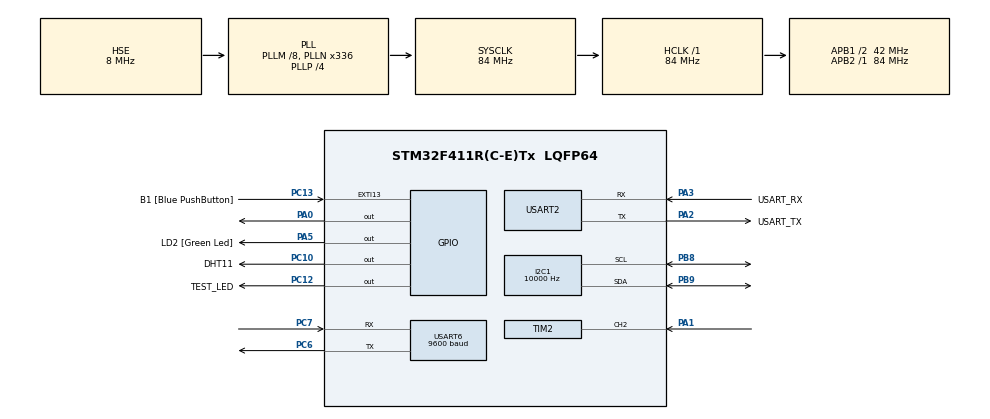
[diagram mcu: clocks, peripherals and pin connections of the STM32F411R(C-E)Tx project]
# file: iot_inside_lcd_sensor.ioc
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I2C1.ClockSpeed=10000
Mcu.Family=STM32F4
Mcu.Name=STM32F411R(C-E)Tx
Mcu.Package=LQFP64
NVIC.PriorityGroup=NVIC_PRIORITYGROUP_0
NVIC.TIM2_IRQn=true\:0\:0\:false\:false\:true\:true\:true\:true
NVIC.TIM3_IRQn=true\:0\:0\:false\:false\:true\:true\:true\:true
NVIC.USART2_IRQn=true\:0\:0\:false\:false\:true\:true\:true\:true
NVIC.USART6_IRQn=true\:0\:0\:false\:false\:true\:true\:true\:true
PA0-WKUP.Signal=GPIO_Output
PA1.Signal=S_TIM2_CH2
PA13.GPIO_Label=TMS
PA13.Mode=Serial_Wire
PA13.Signal=SYS_JTMS-SWDIO
PA14.GPIO_Label=TCK
PA14.Mode=Serial_Wire
PA14.Signal=SYS_JTCK-SWCLK
PA2.GPIO_Label=USART_TX
PA2.Mode=Asynchronous
PA2.Signal=USART2_TX
PA3.GPIO_Label=USART_RX
PA3.Mode=Asynchronous
PA3.Signal=USART2_RX
PA5.GPIO_Label=LD2 [Green Led]
PA5.Signal=GPIO_Output
PB3.GPIO_Label=SWO
PB3.Signal=SYS_JTDO-SWO
PB8.Mode=I2C
PB8.Signal=I2C1_SCL
PB9.Mode=I2C
PB9.Signal=I2C1_SDA
PC10.GPIO_Label=DHT11
PC10.Signal=GPIO_Output
PC12.GPIO_Label=TEST_LED
PC12.Signal=GPIO_Output
PC13-ANTI_TAMP.GPIO_Label=B1 [Blue PushButton]
PC13-ANTI_TAMP.GPIO_ModeDefaultEXTI=GPIO_MODE_IT_FALLING
PC13-ANTI_TAMP.Signal=GPXTI13
PC14-OSC32_IN.Signal=RCC_OSC32_IN
PC15-OSC32_OUT.Signal=RCC_OSC32_OUT
PC6.Mode=Asynchronous
PC6.Signal=USART6_TX
PC7.Mode=Asynchronous
PC7.Signal=USART6_RX
PH0\ -\ OSC_IN.Mode=HSE-External-Oscillator
PH0\ -\ OSC_IN.Signal=RCC_OSC_IN
PH1\ -\ OSC_OUT.Mode=HSE-External-Oscillator
PH1\ -\ OSC_OUT.Signal=RCC_OSC_OUT
ProjectManager.HeapSize=0x200
ProjectManager.StackSize=0x400
ProjectManager.TargetToolchain=STM32CubeIDE
RCC.48MHZClocksFreq_Value=84000000
RCC.AHBFreq_Value=84000000
RCC.APB1CLKDivider=RCC_HCLK_DIV2
RCC.APB1Freq_Value=42000000
RCC.APB1TimFreq_Value=84000000
RCC.APB2Freq_Value=84000000
RCC.APB2TimFreq_Value=84000000
RCC.CortexFreq_Value=84000000
RCC.FLatency-AdvancedSettings=FLASH_LATENCY_2
RCC.HCLKFreq_Value=84000000
RCC.HSE_VALUE=8000000
RCC.HSI_VALUE=16000000
RCC.LSE_VALUE=32768
RCC.PLLM=8
RCC.PLLN=336
RCC.PLLP=RCC_PLLP_DIV4
RCC.PLLSourceVirtual=RCC_PLLSOURCE_HSE
RCC.SYSCLKFreq_VALUE=84000000
RCC.SYSCLKSource=RCC_SYSCLKSOURCE_PLLCLK
RCC.VCOOutputFreq_Value=336000000
SH.S_TIM2_CH2.0=TIM2_CH2,Input_Capture2_from_TI2
TIM2.AutoReloadPreload=TIM_AUTORELOAD_PRELOAD_ENABLE
TIM2.Channel-Input_Capture2_from_TI2=TIM_CHANNEL_2
TIM2.Prescaler=84-1
TIM3.Period=10000-1
TIM3.Prescaler=84-1
USART2.VirtualMode=VM_ASYNC
USART6.BaudRate=9600
USART6.VirtualMode=VM_ASYNC
VP_TIM2_VS_ClockSourceINT.Mode=Internal
VP_TIM3_VS_ClockSourceINT.Mode=Internal
board=NUCLEO-F411RE

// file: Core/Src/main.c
/* USER CODE BEGIN Header */
/**
  ******************************************************************************
  * @file           : main.c
  * @brief          : Main program body
  ******************************************************************************
  */
/* USER CODE END Header */
#include "main.h"

/* USER CODE BEGIN Includes */
#include <stdio.h>
#include <string.h>
#include <stdlib.h>
#include "clcd.h"
/* USER CODE END Includes */

/* USER CODE BEGIN PD */
#ifdef __GNUC__
/* With GCC, small printf (option LD Linker->Libraries->Small printf
   set to 'Yes') calls __io_putchar() */
#define PUTCHAR_PROTOTYPE int __io_putchar(int ch)
#else
#define PUTCHAR_PROTOTYPE int fputc(int ch, FILE *f)
#endif /* __GNUC__ */
#define ARR_CNT 10
#define CMD_SIZE 50
#define RX_BUFFER_SIZE 50

#define TRIG_PORT GPIOA
#define TRIG_PIN GPIO_PIN_0
#define ECHO_PORT GPIOA
#define ECHO_PIN GPIO_PIN_1
/* USER CODE END PD */

I2C_HandleTypeDef hi2c1;

TIM_HandleTypeDef htim2;
TIM_HandleTypeDef htim3;

UART_HandleTypeDef huart2;
UART_HandleTypeDef huart6;

/* USER CODE BEGIN PV */
uint8_t rx2char;
volatile unsigned char rx2Flag = 0;
volatile char rx2Data[RX_BUFFER_SIZE];
volatile unsigned char btFlag = 0;
uint8_t btchar;
char btData[RX_BUFFER_SIZE];

typedef struct {
  uint8_t hours;
  uint8_t minutes;
  uint8_t seconds;
} TimeStruct;

volatile TimeStruct currentTime = {0, 0, 0};
volatile uint8_t timeUpdated = 0;

char temperatureStr[5] = "0";
char humidityStr[5] = "0";
char lightStr[5] = "0";
volatile uint8_t sensorDataUpdated = 0;

uint32_t IC_Val1 = 0;
uint32_t IC_Val2 = 0;
uint32_t Difference = 0;
uint8_t Is_First_Captured = 0;
uint8_t Distance = 0;

volatile uint8_t startMeasurement = 0;
volatile uint32_t lastMeasurementTime = 0;
#define MEASUREMENT_INTERVAL 50

uint8_t backlightState = 0;
uint32_t backlightStartTime = 0;
#define BACKLIGHT_TIMEOUT 10000
/* USER CODE END PV */

void SystemClock_Config(void);
static void MX_GPIO_Init(void);
static void MX_USART2_UART_Init(void);
static void MX_USART6_UART_Init(void);
static void MX_I2C1_Init(void);
static void MX_TIM3_Init(void);
static void MX_TIM2_Init(void);
/* USER CODE BEGIN PFP */
void bluetooth_Event(void);
void updateTimeFromBluetooth(const char* timeStr);
void getTimeString(char* buffer, size_t bufferSize);
/* USER CODE END PFP */

int main(void)
{

  /* MCU Configuration--------------------------------------------------------*/

  /* Reset of all peripherals, Initializes the Flash interface and the Systick. */
  HAL_Init();

  /* Configure the system clock */
  SystemClock_Config();

  /* Initialize all configured peripherals */
  MX_GPIO_Init();
  MX_USART2_UART_Init();
  MX_USART6_UART_Init();
  MX_I2C1_Init();
  MX_TIM3_Init();
  MX_TIM2_Init();
  /* USER CODE BEGIN 2 */
  HAL_UART_Receive_IT(&huart2, &rx2char, 1);
  HAL_UART_Receive_IT(&huart6, &btchar, 1);

  // LCD 초기화
  LCD_init(&hi2c1);

  // LCD 화면 클리어
  LCD_writeStringXY(0, 0, "                ");
  LCD_writeStringXY(1, 0, "                ");

  // 초기 시간과 센서 데이터 표시
  char timeBuff[17] = {0};
  char sensorBuff[17] = {0};

  // 초기 시간 표시 (Time: 00:00:00)
  getTimeString(timeBuff, sizeof(timeBuff));
  LCD_writeStringXY(0, 0, timeBuff);

  // 초기 센서 데이터 표시
  snprintf(sensorBuff, sizeof(sensorBuff), "T:%s H:%s L:%s", temperatureStr, humidityStr, lightStr);
  LCD_writeStringXY(1, 0, sensorBuff);

  // 타이머 인터럽트 시작
  HAL_TIM_Base_Start_IT(&htim3);
  HAL_TIM_IC_Start_IT(&htim2, TIM_CHANNEL_2);
  /* USER CODE END 2 */

  /* Infinite loop */
  /* USER CODE BEGIN WHILE */
  while (1)
  {
    if(rx2Flag)
    {
      rx2Flag = 0;
    }

    if(btFlag)
    {
      btFlag = 0;
      bluetooth_Event();
    }

    // 시간 또는 센서 데이터가 업데이트되면 LCD 갱신
    if(timeUpdated || sensorDataUpdated)
    {
      char timeBuff[17] = {0};
      char sensorBuff[17] = {0};

      // 현재 시간 가져오기
      getTimeString(timeBuff, sizeof(timeBuff));

      // LCD 첫 번째 줄에 시간 표시
      LCD_writeStringXY(0, 0, timeBuff);

      // LCD 두 번째 줄에 센서 데이터 표시
      snprintf(sensorBuff, sizeof(sensorBuff), "T:%s H:%s L:%s", temperatureStr, humidityStr, lightStr);
      LCD_writeStringXY(1, 0, sensorBuff);

      timeUpdated = 0;
      sensorDataUpdated = 0;
    }

    // 거리에 따라 백라이트 제어
    if(Distance < 80)
    {
      if(!backlightState) // 백라이트가 꺼져 있는 경우에만
      {
        LCD_backLightOn();
        backlightState = 1;
        backlightStartTime = HAL_GetTick(); // 현재 시간 기록
      }
      else
      {
        // 이미 켜져 있는 경우 타이머 갱신
        backlightStartTime = HAL_GetTick(); // 활동이 감지될 때마다 타이머 리셋
      }
    }
    else if(backlightState) // 80cm 이상이고 백라이트가 켜져 있을 때만 타임아웃 체크
    {
      uint32_t currentTick = HAL_GetTick();
      if(currentTick - backlightStartTime >= BACKLIGHT_TIMEOUT)
      {
        LCD_backLightOff();
        backlightState = 0;
      }
    }

    if(startMeasurement)
    {
        startMeasurement = 0;
        // 초음파 측정 트리거 시작
        HAL_GPIO_WritePin(TRIG_PORT, TRIG_PIN, GPIO_PIN_SET);
        HAL_Delay(1);  // 최소 10us 이상
        HAL_GPIO_WritePin(TRIG_PORT, TRIG_PIN, GPIO_PIN_RESET);
    }
    /* USER CODE END WHILE */

  }
}

void SystemClock_Config(void)
{
  RCC_OscInitTypeDef RCC_OscInitStruct = {0};
  RCC_ClkInitTypeDef RCC_ClkInitStruct = {0};

  /** Configure the main internal regulator output voltage
  */
  __HAL_RCC_PWR_CLK_ENABLE();
  __HAL_PWR_VOLTAGESCALING_CONFIG(PWR_REGULATOR_VOLTAGE_SCALE1);

  /** Initializes the RCC Oscillators according to the specified parameters
  * in the RCC_OscInitTypeDef structure.
  */
  RCC_OscInitStruct.OscillatorType = RCC_OSCILLATORTYPE_HSE;
  RCC_OscInitStruct.HSEState = RCC_HSE_ON;
  RCC_OscInitStruct.PLL.PLLState = RCC_PLL_ON;
  RCC_OscInitStruct.PLL.PLLSource = RCC_PLLSOURCE_HSE;
  RCC_OscInitStruct.PLL.PLLM = 8;
  RCC_OscInitStruct.PLL.PLLN = 336;
  RCC_OscInitStruct.PLL.PLLP = RCC_PLLP_DIV4;
  RCC_OscInitStruct.PLL.PLLQ = 4;
  if (HAL_RCC_OscConfig(&RCC_OscInitStruct) != HAL_OK)
  {
    Error_Handler();
  }

  /** Initializes the CPU, AHB and APB buses clocks
  */
  RCC_ClkInitStruct.ClockType = RCC_CLOCKTYPE_HCLK|RCC_CLOCKTYPE_SYSCLK
                              |RCC_CLOCKTYPE_PCLK1|RCC_CLOCKTYPE_PCLK2;
  RCC_ClkInitStruct.SYSCLKSource = RCC_SYSCLKSOURCE_PLLCLK;
  RCC_ClkInitStruct.AHBCLKDivider = RCC_SYSCLK_DIV1;
  RCC_ClkInitStruct.APB1CLKDivider = RCC_HCLK_DIV2;
  RCC_ClkInitStruct.APB2CLKDivider = RCC_HCLK_DIV1;

  if (HAL_RCC_ClockConfig(&RCC_ClkInitStruct, FLASH_LATENCY_2) != HAL_OK)
  {
    Error_Handler();
  }
}

static void MX_I2C1_Init(void)
{
  hi2c1.Instance = I2C1;
  hi2c1.Init.ClockSpeed = 10000;
  hi2c1.Init.DutyCycle = I2C_DUTYCYCLE_2;
  hi2c1.Init.OwnAddress1 = 0;
  hi2c1.Init.AddressingMode = I2C_ADDRESSINGMODE_7BIT;
  hi2c1.Init.DualAddressMode = I2C_DUALADDRESS_DISABLE;
  hi2c1.Init.OwnAddress2 = 0;
  hi2c1.Init.GeneralCallMode = I2C_GENERALCALL_DISABLE;
  hi2c1.Init.NoStretchMode = I2C_NOSTRETCH_DISABLE;
  if (HAL_I2C_Init(&hi2c1) != HAL_OK)
  {
    Error_Handler();
  }
}

static void MX_TIM2_Init(void)
{
  TIM_ClockConfigTypeDef sClockSourceConfig = {0};
  TIM_MasterConfigTypeDef sMasterConfig = {0};
  TIM_IC_InitTypeDef sConfigIC = {0};

  htim2.Instance = TIM2;
  htim2.Init.Prescaler = 84-1;
  htim2.Init.CounterMode = TIM_COUNTERMODE_UP;
  htim2.Init.Period = 4294967295;
  htim2.Init.ClockDivision = TIM_CLOCKDIVISION_DIV1;
  htim2.Init.AutoReloadPreload = TIM_AUTORELOAD_PRELOAD_ENABLE;
  if (HAL_TIM_Base_Init(&htim2) != HAL_OK)
  {
    Error_Handler();
  }
  sClockSourceConfig.ClockSource = TIM_CLOCKSOURCE_INTERNAL;
  if (HAL_TIM_ConfigClockSource(&htim2, &sClockSourceConfig) != HAL_OK)
  {
    Error_Handler();
  }
  if (HAL_TIM_IC_Init(&htim2) != HAL_OK)
  {
    Error_Handler();
  }
  sMasterConfig.MasterOutputTrigger = TIM_TRGO_RESET;
  sMasterConfig.MasterSlaveMode = TIM_MASTERSLAVEMODE_DISABLE;
  if (HAL_TIMEx_MasterConfigSynchronization(&htim2, &sMasterConfig) != HAL_OK)
  {
    Error_Handler();
  }
  sConfigIC.ICPolarity = TIM_INPUTCHANNELPOLARITY_RISING;
  sConfigIC.ICSelection = TIM_ICSELECTION_DIRECTTI;
  sConfigIC.ICPrescaler = TIM_ICPSC_DIV1;
  sConfigIC.ICFilter = 0;
  if (HAL_TIM_IC_ConfigChannel(&htim2, &sConfigIC, TIM_CHANNEL_2) != HAL_OK)
  {
    Error_Handler();
  }
}

static void MX_TIM3_Init(void)
{
  TIM_ClockConfigTypeDef sClockSourceConfig = {0};
  TIM_MasterConfigTypeDef sMasterConfig = {0};

  htim3.Instance = TIM3;
  htim3.Init.Prescaler = 84-1;
  htim3.Init.CounterMode = TIM_COUNTERMODE_UP;
  htim3.Init.Period = 10000-1;
  htim3.Init.ClockDivision = TIM_CLOCKDIVISION_DIV1;
  htim3.Init.AutoReloadPreload = TIM_AUTORELOAD_PRELOAD_DISABLE;
  if (HAL_TIM_Base_Init(&htim3) != HAL_OK)
  {
    Error_Handler();
  }
  sClockSourceConfig.ClockSource = TIM_CLOCKSOURCE_INTERNAL;
  if (HAL_TIM_ConfigClockSource(&htim3, &sClockSourceConfig) != HAL_OK)
  {
    Error_Handler();
  }
  sMasterConfig.MasterOutputTrigger = TIM_TRGO_RESET;
  sMasterConfig.MasterSlaveMode = TIM_MASTERSLAVEMODE_DISABLE;
  if (HAL_TIMEx_MasterConfigSynchronization(&htim3, &sMasterConfig) != HAL_OK)
  {
    Error_Handler();
  }
}

static void MX_USART2_UART_Init(void)
{
  huart2.Instance = USART2;
  huart2.Init.BaudRate = 115200;
  huart2.Init.WordLength = UART_WORDLENGTH_8B;
  huart2.Init.StopBits = UART_STOPBITS_1;
  huart2.Init.Parity = UART_PARITY_NONE;
  huart2.Init.Mode = UART_MODE_TX_RX;
  huart2.Init.HwFlowCtl = UART_HWCONTROL_NONE;
  huart2.Init.OverSampling = UART_OVERSAMPLING_16;
  if (HAL_UART_Init(&huart2) != HAL_OK)
  {
    Error_Handler();
  }
}

static void MX_USART6_UART_Init(void)
{
  huart6.Instance = USART6;
  huart6.Init.BaudRate = 9600;
  huart6.Init.WordLength = UART_WORDLENGTH_8B;
  huart6.Init.StopBits = UART_STOPBITS_1;
  huart6.Init.Parity = UART_PARITY_NONE;
  huart6.Init.Mode = UART_MODE_TX_RX;
  huart6.Init.HwFlowCtl = UART_HWCONTROL_NONE;
  huart6.Init.OverSampling = UART_OVERSAMPLING_16;
  if (HAL_UART_Init(&huart6) != HAL_OK)
  {
    Error_Handler();
  }
}

static void MX_GPIO_Init(void)
{
  GPIO_InitTypeDef GPIO_InitStruct = {0};

  /* GPIO Ports Clock Enable */
  __HAL_RCC_GPIOC_CLK_ENABLE();
  __HAL_RCC_GPIOH_CLK_ENABLE();
  __HAL_RCC_GPIOA_CLK_ENABLE();
  __HAL_RCC_GPIOB_CLK_ENABLE();

  /*Configure GPIO pin Output Level */
  HAL_GPIO_WritePin(GPIOA, GPIO_PIN_0|LD2_Pin, GPIO_PIN_RESET);

  /*Configure GPIO pin Output Level */
  HAL_GPIO_WritePin(GPIOC, DHT11_Pin|TEST_LED_Pin, GPIO_PIN_RESET);

  /*Configure GPIO pin : B1_Pin */
  GPIO_InitStruct.Pin = B1_Pin;
  GPIO_InitStruct.Mode = GPIO_MODE_IT_FALLING;
  GPIO_InitStruct.Pull = GPIO_NOPULL;
  HAL_GPIO_Init(B1_GPIO_Port, &GPIO_InitStruct);

  /*Configure GPIO pins : PA0 LD2_Pin */
  GPIO_InitStruct.Pin = GPIO_PIN_0|LD2_Pin;
  GPIO_InitStruct.Mode = GPIO_MODE_OUTPUT_PP;
  GPIO_InitStruct.Pull = GPIO_NOPULL;
  GPIO_InitStruct.Speed = GPIO_SPEED_FREQ_LOW;
  HAL_GPIO_Init(GPIOA, &GPIO_InitStruct);

  /*Configure GPIO pins : DHT11_Pin TEST_LED_Pin */
  GPIO_InitStruct.Pin = DHT11_Pin|TEST_LED_Pin;
  GPIO_InitStruct.Mode = GPIO_MODE_OUTPUT_PP;
  GPIO_InitStruct.Pull = GPIO_NOPULL;
  GPIO_InitStruct.Speed = GPIO_SPEED_FREQ_LOW;
  HAL_GPIO_Init(GPIOC, &GPIO_InitStruct);

  /*Configure GPIO pin : PA1 (ECHO) */
  GPIO_InitStruct.Pin = GPIO_PIN_1; // ECHO_PIN
  GPIO_InitStruct.Mode = GPIO_MODE_AF_PP; // 타이머 입력 캡처를 위한 대체 기능 설정
  GPIO_InitStruct.Pull = GPIO_NOPULL;
  GPIO_InitStruct.Speed = GPIO_SPEED_FREQ_LOW;
  GPIO_InitStruct.Alternate = GPIO_AF1_TIM2; // TIM2의 AF 설정
  HAL_GPIO_Init(GPIOA, &GPIO_InitStruct);
}

/* USER CODE BEGIN 4 */
void bluetooth_Event()
{
  int i=0;
  char * pToken;
  char * pArray[ARR_CNT]={0};
  char recvBuf[CMD_SIZE]={0};
  char sendBuf[CMD_SIZE]={0};

  // 안전한 문자열 복사
  strncpy(recvBuf, btData, CMD_SIZE-1);
  recvBuf[CMD_SIZE-1] = '\0';

  pToken = strtok(recvBuf, "[@]");
  while(pToken != NULL)
  {
    pArray[i] = pToken;
    if(++i >= ARR_CNT)
      break;
    pToken = strtok(NULL, "[@]");
  }

  if(!strcmp(pArray[1], "TIME_SENSOR"))
  {
    // pArray[2] = 시간(HH:MM:SS), pArray[3] = 온도, pArray[4] = 습도, pArray[5] = 조도
    if(pArray[2] != NULL && pArray[3] != NULL && pArray[4] != NULL && pArray[5] != NULL)
    {
      // 블루투스로부터 받은 시간으로 내부 시간 초기화
      updateTimeFromBluetooth(pArray[2]);

      // 센서 데이터 저장 (전역 변수로 온도, 습도, 조도 저장)
      strncpy(temperatureStr, pArray[3], sizeof(temperatureStr)-1);
      temperatureStr[sizeof(temperatureStr)-1] = '\0';  // NULL 종료자 보장

      strncpy(humidityStr, pArray[4], sizeof(humidityStr)-1);
      humidityStr[sizeof(humidityStr)-1] = '\0';  // NULL 종료자 보장

      strncpy(lightStr, pArray[5], sizeof(lightStr)-1);
      lightStr[sizeof(lightStr)-1] = '\0';  // NULL 종료자 보장

      // LCD 업데이트는 메인 루프에서 처리
      sensorDataUpdated = 1;
    }
  }
  else if(!strncmp(pArray[1], " New conn", sizeof(" New conn")-1))
  {
    return;
  }
  else if(!strncmp(pArray[1], " Already log", sizeof(" Already log")-1))
  {
    return;
  }
  else
    return;

  if(pArray[0] != NULL && pArray[1] != NULL && pArray[2] != NULL)
  {
    snprintf(sendBuf, CMD_SIZE, "[%s]%s@%s\n", pArray[0], pArray[1], pArray[2]);
    HAL_UART_Transmit(&huart6, (uint8_t *)sendBuf, strlen(sendBuf), 0xFFFF);
  }
}

/**
  * @brief  Retargets the C library printf function to the USART.
  * @param  None
  * @retval None
  */
PUTCHAR_PROTOTYPE
{
  /* Place your implementation of fputc here */
  /* e.g. write a character to the USART and Loop until the end of transmission */
  HAL_UART_Transmit(&huart2, (uint8_t *)&ch, 1, 0xFFFF);

  return ch;
}

void HAL_UART_RxCpltCallback(UART_HandleTypeDef *huart)
{
  if(huart->Instance == USART2)
  {
    static int i=0;

    // 버퍼 오버플로우 방지
    if(i < RX_BUFFER_SIZE-1)
    {
      rx2Data[i] = rx2char;
      if((rx2Data[i] == '\r') || (rx2Data[i] == '\n'))
      {
        rx2Data[i] = '\0';
        rx2Flag = 1;
        i = 0;
      }
      else
      {
        i++;
      }
    }
    else
    {
      // 버퍼가 가득 찼을 때 처리
      rx2Data[i] = '\0';
      rx2Flag = 1;
      i = 0;
    }

    HAL_UART_Receive_IT(&huart2, &rx2char, 1);
  }

  if(huart->Instance == USART6)
  {
    static int i=0;

    // 버퍼 오버플로우 방지
    if(i < RX_BUFFER_SIZE-1)
    {
      btData[i] = btchar;
      if((btData[i] == '\n') || (btData[i] == '\r'))
      {
        btData[i] = '\0';
        btFlag = 1;
        i = 0;
      }
      else
      {
        i++;
      }
    }
    else
    {
      // 버퍼가 가득 찼을 때 처리
      btData[i] = '\0';
      btFlag = 1;
      i = 0;
    }

    HAL_UART_Receive_IT(&huart6, &btchar, 1);
  }
}

void HAL_TIM_PeriodElapsedCallback(TIM_HandleTypeDef *htim)
{
  if(htim->Instance == TIM3)
  {
    static uint8_t counter = 0;

    // 0.01초마다 카운터 증가, 100번에 1번(1초마다) 시간 업데이트
    counter++;
    if(counter >= 100)
    {
      counter = 0;

      // 1초에 한 번씩 시간 업데이트
      currentTime.seconds++;

      // 초, 분, 시간 업데이트 로직
      if(currentTime.seconds >= 60)
      {
        currentTime.seconds = 0;
        currentTime.minutes++;

        if(currentTime.minutes >= 60)
        {
          currentTime.minutes = 0;
          currentTime.hours++;

          if(currentTime.hours >= 24)
          {
            currentTime.hours = 0;
          }
        }
      }

      // 시간이 업데이트되었음을 표시하는 플래그
      timeUpdated = 1;
    }
    // 0.1초마다 거리 측정 시작
    uint32_t currentTickTime = HAL_GetTick();
    if(currentTickTime - lastMeasurementTime >= MEASUREMENT_INTERVAL && !startMeasurement)
    {
      startMeasurement = 1;
      lastMeasurementTime = currentTickTime;
    }
  }
}

// 블루투스로부터 받은 시간으로 내부 시간 초기화
void updateTimeFromBluetooth(const char* timeStr)
{
  if(timeStr != NULL)
  {
    int h = 0, m = 0, s = 0;
    if(sscanf(timeStr, "%d:%d:%d", &h, &m, &s) == 3)
    {
      // 유효한 시간 범위 확인
      if(h >= 0 && h < 24 && m >= 0 && m < 60 && s >= 0 && s < 60)
      {
        currentTime.hours = h;
        currentTime.minutes = m;
        currentTime.seconds = s;
      }
    }
  }
}

// 현재 시간을 문자열로 변환
void getTimeString(char* buffer, size_t bufferSize)
{
  if(buffer != NULL && bufferSize >= 9) // "HH:MM:SS" + '\0'
  {
    snprintf(buffer, bufferSize, "Time: %02d:%02d:%02d",
             currentTime.hours, currentTime.minutes, currentTime.seconds);
  }
  else if(buffer != NULL && bufferSize > 0)
  {
    buffer[0] = '\0'; // 버퍼 크기가 충분하지 않을 경우 빈 문자열 반환
  }
}

void HAL_TIM_IC_CaptureCallback(TIM_HandleTypeDef *htim)
{
  if(htim->Instance == TIM2)
  {
    if(Is_First_Captured == 0) // 첫 번째 캡처 (상승 에지)
    {
      IC_Val1 = HAL_TIM_ReadCapturedValue(htim, TIM_CHANNEL_2);
      Is_First_Captured = 1;

      // 캡처 모드를 하강 에지로 변경
      __HAL_TIM_SET_CAPTUREPOLARITY(htim, TIM_CHANNEL_2, TIM_INPUTCHANNELPOLARITY_FALLING);
    }
    else if(Is_First_Captured == 1) // 두 번째 캡처 (하강 에지)
    {
      IC_Val2 = HAL_TIM_ReadCapturedValue(htim, TIM_CHANNEL_2);

      // 타이머 카운터가 오버플로우된 경우
      if(IC_Val2 > IC_Val1)
      {
        Difference = IC_Val2 - IC_Val1;
      }
      else
      {
        Difference = ((0xFFFFFFFF - IC_Val1) + IC_Val2) + 1;
      }

      // 거리 계산 (microseconds)
      Distance = Difference * 0.034 / 2;

      // 센서 데이터가 업데이트되었음을 표시
      sensorDataUpdated = 1;

      Is_First_Captured = 0;

      // 캡처 모드를 상승 에지로 복원
      __HAL_TIM_SET_CAPTUREPOLARITY(htim, TIM_CHANNEL_2, TIM_INPUTCHANNELPOLARITY_RISING);
    }
  }
}
/* USER CODE END 4 */

void Error_Handler(void)
{
  __disable_irq();
  while (1)
  {
  }
}
